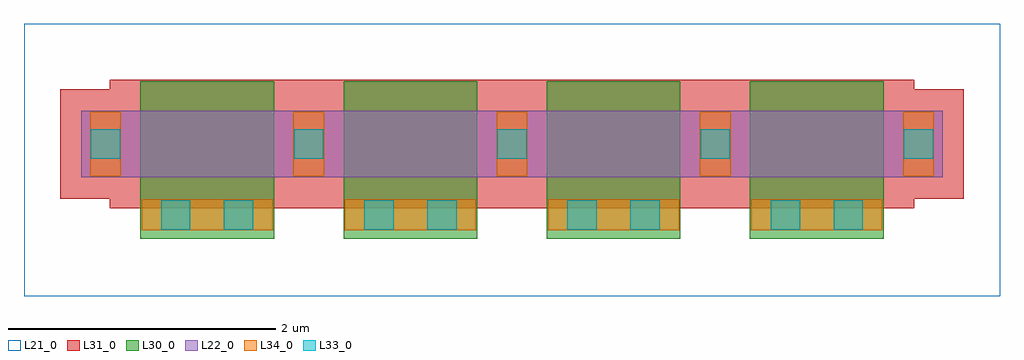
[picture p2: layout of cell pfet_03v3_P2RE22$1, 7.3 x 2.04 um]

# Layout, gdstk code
import gdstk
lib = gdstk.Library(unit=1e-6, precision=1e-09)
def R(c, l, rs):  # rectangles x0, y0, x1, y1
    for r in rs: c.add(gdstk.rectangle(r[:2], r[2:], *l))
def A(c, l, x, y, w, h, nx, ny, dx, dy):  # array of equal rectangles
    R(c, l, [(x+i*dx, y+j*dy, x+i*dx+w, y+j*dy+h) for i in range(nx) for j in range(ny)])
L21_0 = (21, 0)
L22_0 = (22, 0)
L30_0 = (30, 0)
L31_0 = (31, 0)
L33_0 = (33, 0)
L34_0 = (34, 0)

pfet_03v3_p2re22_1 = lib.new_cell('pfet_03v3_P2RE22$1')
R(pfet_03v3_p2re22_1, L21_0, [(-3.65,-1.02,3.65,1.02)])
R(pfet_03v3_p2re22_1, L22_0, [(-3.22,-0.13,3.22,0.37)])
A(pfet_03v3_p2re22_1, L30_0, -2.78, -0.59, 1, 1.18, 4, 1, 1.52, 0)
R(pfet_03v3_p2re22_1, L31_0, [(-3.01,-0.36,3.01,-0.29), (-3.38,-0.29,3.38,0.53), (-3.01,0.53,3.01,0.6)])
A(pfet_03v3_p2re22_1, L33_0, -3.15, 0.01, 0.22, 0.22, 5, 1, 1.52, 0)
R(pfet_03v3_p2re22_1, L33_0, [(-2.625,-0.52,-2.405,-0.3), (-2.155,-0.52,-1.935,-0.3), (-1.105,-0.52,-0.885,-0.3), (-0.635,-0.52,-0.415,-0.3), (0.415,-0.52,0.635,-0.3), (0.885,-0.52,1.105,-0.3), (1.935,-0.52,2.155,-0.3), (2.405,-0.52,2.625,-0.3)])
A(pfet_03v3_p2re22_1, L34_0, -2.77, -0.525, 0.98, 0.23, 4, 1, 1.52, 0)
A(pfet_03v3_p2re22_1, L34_0, -3.155, -0.12, 0.23, 0.48, 5, 1, 1.52, 0)

lib.write_gds('pfet_03v3_P2RE22_1.gds')
